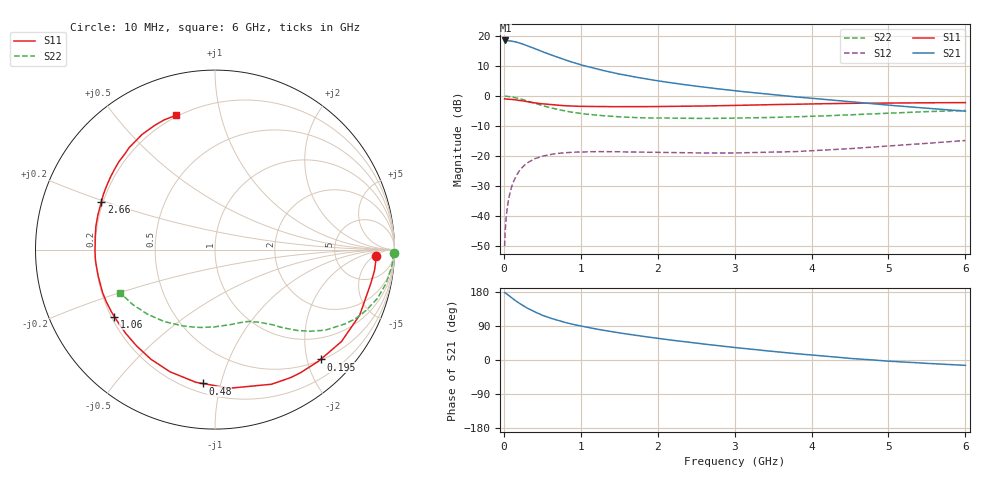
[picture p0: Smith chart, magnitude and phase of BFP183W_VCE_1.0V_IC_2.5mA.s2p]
! Infineon Technologies  Discrete & RF Semiconductors
! BFP183W
! VCE = 1.0 V,  IC =  2.5 mA
! Common Emitter S-Parameters:  Jan 2016
# GHz  S  MA  R  50
!  f  S11  S21  S12  S22
! GHz  MAG  ANG  MAG  ANG  MAG  ANG  MAG  ANG
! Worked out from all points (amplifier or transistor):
!   210 points, 10 MHz to 6 GHz, reference 50 ohm
!   highest |S21| = 18.5 dB at 20 MHz (marker M1)
!   |S21| within 3 dB of that: start of sweep to 430.4 MHz
!   unconditionally stable (mu >= 1): 2.148 GHz to end of sweep
!   at 185 MHz: K = 0.11, MSG = 21.6 dB, |S12| = -25.5 dB
!   at 1.52 GHz: K = 0.73, MSG = 12.9 dB, |S12| = -18.5 dB
!   at 6 GHz: K = 1.11, MAG = 2.8 dB, |S12| = -14.8 dB
!   S11 on the Smith chart (normalised r, x): 10 MHz: 16, -6; 195 MHz: 0.51, -2.25; 480 MHz: 0.26, -0.88; 1.06 GHz: 0.21, -0.29; 2.66 GHz: 0.19, +0.19; 6 GHz: 0.19, +0.73
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0.01  0.8985 -2.4  8.339 177.8  0.0032 89.0  0.9952 -1.2
0.02  0.8974 -5.1  8.414 177.0  0.0062 87.6  0.9912 -2.3
0.05  0.8882 -12.3  8.371 172.2  0.0155 82.6  0.9879 -5.8
0.1  0.8849 -24.3  8.207 164.5  0.0307 76.6  0.9713 -11.3
0.15  0.8712 -36.0  7.985 156.8  0.0444 69.9  0.9449 -16.7
0.195  0.849 -46.1  7.682 150.4  0.0557 64.3  0.914 -21.0
0.24  0.8348 -55.5  7.37 144.9  0.0654 59.3  0.8817 -25.1
0.3  0.8136 -67.2  6.9 137.3  0.0769 53.3  0.8349 -29.7
0.4  0.7767 -84.0  6.181 126.9  0.0908 45.1  0.7615 -36.1
0.48  0.7491 -95.3  5.617 120.0  0.0985 39.9  0.7091 -39.8
0.6  0.7255 -110.2  4.905 110.7  0.1069 33.3  0.6429 -44.5
0.7  0.7075 -120.3  4.424 104.5  0.1116 29.4  0.6002 -47.3
0.9  0.6823 -136.7  3.631 94.0  0.1166 23.2  0.5358 -51.8
1.02  0.6747 -143.9  3.262 89.0  0.118 20.5  0.5107 -54.2
1.06  0.6735 -146.3  3.164 87.4  0.1185 19.8  0.5039 -54.9
1.4  0.667 -163.4  2.477 74.8  0.1195 14.7  0.4631 -60.7
2.02  0.6711 174.3  1.781 56.7  0.1158 12.2  0.4302 -71.2
2.66  0.6866 157.3  1.38 40.8  0.113 13.8  0.4262 -83.4
3.1  0.7041 147.4  1.191 31.0  0.1141 16.3  0.4319 -92.7
4.1  0.7448 128.6  0.898 11.5  0.1255 23.4  0.4661 -115.8
5.1  0.7702 115.2  0.69 -4.2  0.1507 27.6  0.5259 -138.5
6  0.7791 106.2  0.562 -14.1  0.1825 27.6  0.5799 -155.3
